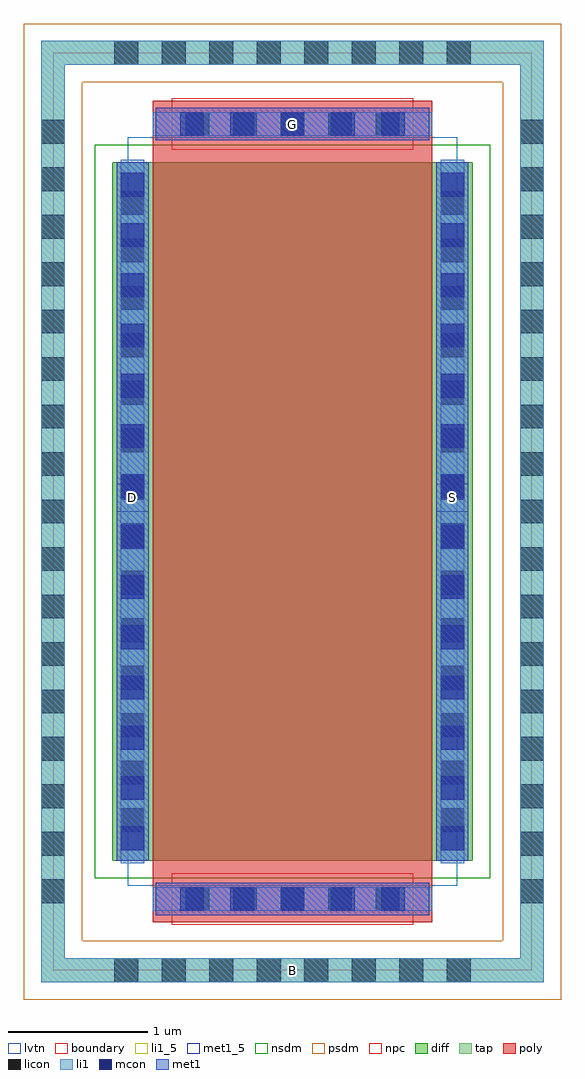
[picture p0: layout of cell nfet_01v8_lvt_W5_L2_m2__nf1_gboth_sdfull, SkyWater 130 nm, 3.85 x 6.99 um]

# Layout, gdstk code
import gdstk
lib = gdstk.Library(unit=1e-6, precision=1e-09)
def R(c, l, rs):  # rectangles x0, y0, x1, y1
    for r in rs: c.add(gdstk.rectangle(r[:2], r[2:], *l))
def A(c, l, x, y, w, h, nx, ny, dx, dy):  # array of equal rectangles
    R(c, l, [(x+i*dx, y+j*dy, x+i*dx+w, y+j*dy+h) for i in range(nx) for j in range(ny)])
diff = (65, 20)
tap = (65, 44)
poly = (66, 20)
licon = (66, 44)
li1_5 = (67, 5)
li1 = (67, 20)
mcon = (67, 44)
met1_5 = (68, 5)
met1 = (68, 20)
nsdm = (93, 44)
psdm = (94, 20)
npc = (95, 20)
lvtn = (125, 44)
boundary = (235, 4)

sky130_fd_pr__nfet_01v8_ = lib.new_cell('sky130_fd_pr__nfet_01v8_lvt_HU7L85')
R(sky130_fd_pr__nfet_01v8_, diff, [(-1.29,-2.5,1.29,2.5)])
R(sky130_fd_pr__nfet_01v8_, tap, [(-1.8,-3.37,1.8,-3.2), (-1.8,-3.2,-1.63,3.2), (1.63,-3.2,1.8,3.2), (-1.8,3.2,1.8,3.37)])
R(sky130_fd_pr__nfet_01v8_, poly, [(-1,-2.94,1,2.94)])
A(sky130_fd_pr__nfet_01v8_, licon, -1.275, -3.37, 0.17, 0.17, 8, 2, 0.34, 6.57)
A(sky130_fd_pr__nfet_01v8_, licon, -0.765, -2.86, 0.17, 0.17, 5, 2, 0.34, 5.55)
A(sky130_fd_pr__nfet_01v8_, licon, -1.8, -2.805, 0.17, 0.17, 1, 17, 0, 0.34)
A(sky130_fd_pr__nfet_01v8_, licon, 1.63, -2.805, 0.17, 0.17, 1, 17, 0, 0.34)
A(sky130_fd_pr__nfet_01v8_, licon, -1.23, -2.295, 0.17, 0.17, 1, 14, 0, 0.34)
A(sky130_fd_pr__nfet_01v8_, licon, 1.06, -2.295, 0.17, 0.17, 1, 14, 0, 0.34)
R(sky130_fd_pr__nfet_01v8_, li1, [(-1.8,-3.37,1.8,-3.2), (-1.8,-3.2,-1.63,3.2), (1.63,-3.2,1.8,3.2), (-1,-2.86,1,-2.69), (-1.23,-2.52,-1.06,2.52), (1.06,-2.52,1.23,2.52), (-1,2.69,1,2.86), (-1.8,3.2,1.8,3.37)])
A(sky130_fd_pr__nfet_01v8_, mcon, -0.805, -2.86, 0.17, 0.17, 5, 2, 0.36, 5.55)
A(sky130_fd_pr__nfet_01v8_, mcon, -1.23, -2.425, 0.17, 0.17, 1, 14, 0, 0.36)
A(sky130_fd_pr__nfet_01v8_, mcon, 1.06, -2.425, 0.17, 0.17, 1, 14, 0, 0.36)
R(sky130_fd_pr__nfet_01v8_, met1, [(-0.98,-2.89,0.98,-2.66), (-1.26,-2.5,-1.03,2.5), (1.03,-2.5,1.26,2.5), (-0.98,2.66,0.98,2.89)])
R(sky130_fd_pr__nfet_01v8_, nsdm, [(-1.415,-2.625,1.415,2.625)])
R(sky130_fd_pr__nfet_01v8_, psdm, [(-1.925,-3.495,1.925,-3.075), (-1.925,-3.075,-1.505,3.075), (1.505,-3.075,1.925,3.075), (-1.925,3.075,1.925,3.495)])
R(sky130_fd_pr__nfet_01v8_, npc, [(-0.865,-2.96,0.865,-2.59), (-0.865,2.59,0.865,2.96)])
R(sky130_fd_pr__nfet_01v8_, lvtn, [(-1.18,-2.68,1.18,2.68)])
R(sky130_fd_pr__nfet_01v8_, boundary, [(-1.715,-3.285,1.715,3.285)])
sky130_fd_pr__nfet_01v8_.add(gdstk.Label('B', (0,-3.285), layer=67, texttype=5))
sky130_fd_pr__nfet_01v8_.add(gdstk.Label('D', (-1.145,0), layer=67, texttype=5))
sky130_fd_pr__nfet_01v8_.add(gdstk.Label('S', (1.145,0), layer=67, texttype=5))
sky130_fd_pr__nfet_01v8_.add(gdstk.Label('G', (0,2.775), layer=67, texttype=5))

nfet_01v8_lvt_w5_l2_m2__ = lib.new_cell('nfet_01v8_lvt_W5_L2_m2__nf1_gboth_sdfull')
R(nfet_01v8_lvt_w5_l2_m2__, li1_5, [(1.63,-0.085,1.8,0.085)])
R(nfet_01v8_lvt_w5_l2_m2__, li1, [(1.63,-0.085,1.8,0.085)])
R(nfet_01v8_lvt_w5_l2_m2__, met1_5, [(0.455,3.285,0.685,3.485), (2.745,3.285,2.975,3.485), (0.735,5.945,2.695,6.175)])
R(nfet_01v8_lvt_w5_l2_m2__, met1, [(0.455,3.285,0.685,3.485), (2.745,3.285,2.975,3.485), (0.735,5.945,2.695,6.175)])
nfet_01v8_lvt_w5_l2_m2__.add(gdstk.Reference(sky130_fd_pr__nfet_01v8_, (1.715,3.285)))
nfet_01v8_lvt_w5_l2_m2__.add(gdstk.Label('D', (0.57,3.385), layer=68, texttype=5))
nfet_01v8_lvt_w5_l2_m2__.add(gdstk.Label('S', (2.86,3.385), layer=68, texttype=5))
nfet_01v8_lvt_w5_l2_m2__.add(gdstk.Label('G', (1.715,6.06), layer=68, texttype=5))
nfet_01v8_lvt_w5_l2_m2__.add(gdstk.Label('B', (1.715,0), layer=67, texttype=5))

lib.write_gds('nfet_01v8_lvt_W5_L2_m2__nf1_gboth_sdfull.gds')
